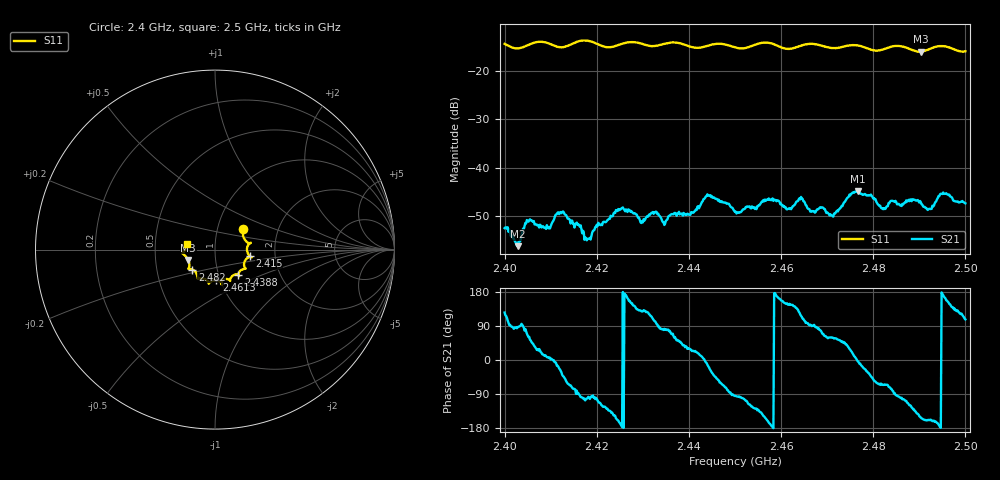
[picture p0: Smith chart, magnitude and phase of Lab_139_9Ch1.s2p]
# Hz S RI R 50
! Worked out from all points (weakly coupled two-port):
!   601 points, 2.4 GHz to 2.5 GHz, reference 50 ohm
!   highest |S21| = -44.90 dB at 2.4767 GHz (marker M1); lowest = -56.4 dB at 2.4028 GHz (marker M2)
!   lowest |S11| = -15.9 dB at 2.4903 GHz (marker M3), VSWR 1.38, Z = 36.8 - j4.41 ohm
!   |S11| at or under -10 dB: start of sweep to end of sweep
!   S12 and S22 are empty: the file has one direction only
!   S11 on the Smith chart (normalised r, x): 2.4 GHz: 1.33, +0.31; 2.415 GHz: 1.47, -0.11; 2.4388 GHz: 1.24, -0.36; 2.4613 GHz: 0.96, -0.34; 2.482 GHz: 0.76, -0.17; 2.5 GHz: 0.73, +0.05
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2.4e9  0.157 0.1121  -0.00135 0.00191  0 0  0 0
2.402833e9  0.1607 0.0646  9.96e-05 0.00152  0 0  0 0
2.405333e9  0.1862 0.0372  0.00136 0.00246  0 0  0 0
2.409333e9  0.1938 0.0357  0.00237 0.000293  0 0  0 0
2.4125e9  0.178 -0.00268  0.00266 -0.00218  0 0  0 0
2.415e9  0.193 -0.0365  0.000612 -0.00253  0 0  0 0
2.416667e9  0.2041 -0.0438  -0.000319 -0.00227  0 0  0 0
2.418333e9  0.2028 -0.0412  -0.000307 -0.0018  0 0  0 0
2.425167e9  0.1647 -0.0979  -0.00361 -0.000648  0 0  0 0
2.433333e9  0.1317 -0.1319  0.000114 0.00331  0 0  0 0
2.438833e9  0.1296 -0.1402  0.00261 0.00213  0 0  0 0
2.444167e9  0.0847 -0.1649  0.0049 -0.00143  0 0  0 0
2.45e9  0.0687 -0.1643  -0.000288 -0.00344  0 0  0 0
2.461333e9  0.00735 -0.171  -0.00317 0.00187  0 0  0 0
2.464333e9  -0.0299 -0.1828  -0.00221 0.00443  0 0  0 0
2.466667e9  -0.0345 -0.1902  3.25e-05 0.00354  0 0  0 0
2.471333e9  -0.0585 -0.1641  0.00162 0.00263  0 0  0 0
2.476667e9  -0.0967 -0.1589  0.00568 -0.000362  0 0  0 0
2.482e9  -0.1266 -0.1109  0.0016 -0.00342  0 0  0 0
2.483333e9  -0.1402 -0.1084  0.00142 -0.00403  0 0  0 0
2.490333e9  -0.149 -0.0583  -0.00386 -0.00202  0 0  0 0
2.5e9  -0.1583 0.0332  -0.00125 0.00405  0 0  0 0
